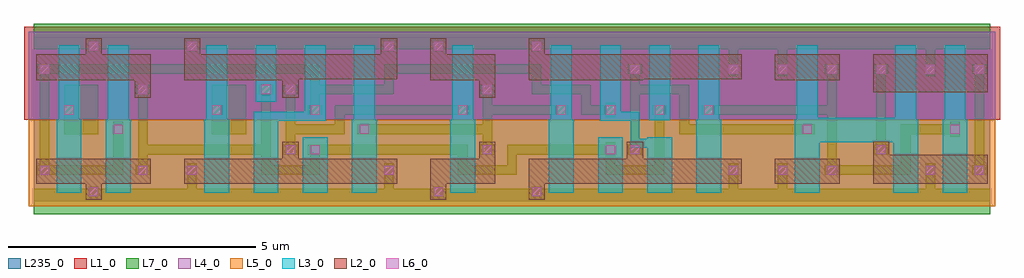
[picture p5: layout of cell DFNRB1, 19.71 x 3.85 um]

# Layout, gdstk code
import gdstk
lib = gdstk.Library(unit=1e-6, precision=1e-09)
def R(c, l, rs):  # rectangles x0, y0, x1, y1
    for r in rs: c.add(gdstk.rectangle(r[:2], r[2:], *l))
def A(c, l, x, y, w, h, nx, ny, dx, dy):  # array of equal rectangles
    R(c, l, [(x+i*dx, y+j*dy, x+i*dx+w, y+j*dy+h) for i in range(nx) for j in range(ny)])
def P(c, l, *ps):  # polygons
    for p in ps: c.add(gdstk.Polygon(p, *l))
L1_0 = (1, 0)
L2_0 = (2, 0)
L3_0 = (3, 0)
L4_0 = (4, 0)
L5_0 = (5, 0)
L6_0 = (6, 0)
L7_0 = (7, 0)
L235_0 = (235, 0)

dfnrb1 = lib.new_cell('DFNRB1')
R(dfnrb1, L1_0, [(-0.2,1.653,19.512,3.532)])
R(dfnrb1, L2_0, [(14.96,0.363,16.28,0.863), (16.948,2.209,19.262,2.969), (14.96,2.449,16.28,2.969)])
P(dfnrb1, L2_0, [(1.044,0.036),(1.044,0.363),(0.05,0.363),(0.05,0.863),(2.364,0.863),(2.364,0.363),(1.37,0.363),(1.37,0.036)],
  [(3.032,0.363),(3.032,0.863),(5.02,0.863),(5.02,1.209),(5.346,1.209),(5.346,0.863),(7.334,0.863),(7.334,0.363)],
  [(8.002,0.036),(8.002,0.863),(8.996,0.863),(8.996,1.209),(9.322,1.209),(9.322,0.363),(8.328,0.363),(8.328,0.036)],
  [(9.99,0.036),(9.99,0.863),(11.978,0.863),(11.978,1.209),(12.304,1.209),(12.304,0.863),(14.292,0.863),(14.292,0.363),(10.316,0.363),(10.316,0.036)],
  [(16.948,0.363),(16.948,1.209),(17.274,1.209),(17.274,0.943),(19.262,0.943),(19.262,0.363)],
  [(2.038,2.097),(2.038,2.449),(0.05,2.449),(0.05,2.969),(1.044,2.969),(1.044,3.296),(1.37,3.296),(1.37,2.969),(2.364,2.969),(2.364,2.097)],
  [(5.02,2.097),(5.02,2.449),(3.032,2.449),(3.032,3.296),(3.358,3.296),(3.358,2.969),(7.008,2.969),(7.008,3.296),(7.334,3.296),(7.334,2.469),(5.346,2.469),(5.346,2.097)],
  [(8.996,2.097),(8.996,2.449),(8.002,2.449),(8.002,3.296),(8.328,3.296),(8.328,2.969),(9.322,2.969),(9.322,2.097)],
  [(9.99,2.449),(9.99,3.296),(10.316,3.296),(10.316,2.969),(14.292,2.969),(14.292,2.469),(12.304,2.469),(12.304,2.449)])
R(dfnrb1, L3_0, [(5.43,0.177,5.93,1.296), (11.394,0.177,11.894,1.296), (12.428,1.637,12.848,3.155), (4.476,2.01,4.896,3.155)])
P(dfnrb1, L3_0, [(0.46,0.177),(0.46,1.653),(0.5,1.653),(0.5,3.155),(0.92,3.155),(0.92,1.653),(0.96,1.653),(0.96,0.177)],
  [(1.454,0.177),(1.454,1.653),(1.494,1.653),(1.494,3.155),(1.914,3.155),(1.914,1.653),(1.954,1.653),(1.954,0.177)],
  [(3.442,0.177),(3.442,1.653),(3.482,1.653),(3.482,3.155),(3.902,3.155),(3.902,1.653),(3.942,1.653),(3.942,0.177)],
  [(4.436,0.177),(4.436,1.809),(5.47,1.809),(5.47,3.155),(5.89,3.155),(5.89,1.629),(4.936,1.629),(4.936,0.177)],
  [(6.424,0.177),(6.424,1.653),(6.464,1.653),(6.464,3.155),(6.884,3.155),(6.884,1.653),(6.924,1.653),(6.924,0.177)],
  [(8.412,0.177),(8.412,1.653),(8.452,1.653),(8.452,3.155),(8.872,3.155),(8.872,1.653),(8.912,1.653),(8.912,0.177)],
  [(10.4,0.177),(10.4,1.653),(10.44,1.653),(10.44,3.155),(10.86,3.155),(10.86,1.653),(10.9,1.653),(10.9,0.177)],
  [(12.388,0.177),(12.388,1.084),(12.051,1.084),(12.051,1.629),(11.434,1.629),(11.434,3.155),(11.854,3.155),(11.854,1.809),(12.231,1.809),(12.231,1.264),(12.388,1.264),(12.388,1.296),(12.888,1.296),(12.888,0.177)],
  [(13.382,0.177),(13.382,1.653),(13.422,1.653),(13.422,3.155),(13.842,3.155),(13.842,1.653),(13.882,1.653),(13.882,0.177)],
  [(15.37,0.177),(15.37,1.653),(15.41,1.653),(15.41,3.155),(15.83,3.155),(15.83,1.696),(17.398,1.696),(17.398,3.155),(17.818,3.155),(17.818,1.653),(17.858,1.653),(17.858,0.177),(17.358,0.177),(17.358,1.196),(15.87,1.196),(15.87,0.177)],
  [(18.352,0.177),(18.352,1.653),(18.392,1.653),(18.392,3.155),(18.812,3.155),(18.812,1.653),(18.852,1.653),(18.852,0.177)])
R(dfnrb1, L4_0, [(-0.1,1.653,19.412,3.432)])
R(dfnrb1, L5_0, [(-0.1,-0.1,19.412,1.653)])
A(dfnrb1, L6_0, 14.036, 0.54, 0.186, 0.186, 3, 1, 0.994, 0)
A(dfnrb1, L6_0, 10.557, 1.754, 0.186, 0.186, 4, 1, 0.994, 0)
A(dfnrb1, L6_0, 14.036, 2.58, 0.186, 0.186, 6, 1, 0.994, 0)
R(dfnrb1, L6_0, [(1.114,0.106,1.3,0.292), (8.072,0.106,8.258,0.292), (10.06,0.106,10.246,0.292), (0.12,0.54,0.306,0.726), (2.108,0.54,2.294,0.726), (3.102,0.54,3.288,0.726), (7.078,0.54,7.264,0.726), (18.012,0.54,18.198,0.726), (19.006,0.54,19.192,0.726), (5.09,0.953,5.276,1.139), (5.587,0.953,5.773,1.139), (9.066,0.953,9.252,1.139), (11.551,0.953,11.737,1.139), (12.048,0.953,12.234,1.139), (17.018,0.953,17.204,1.139), (1.611,1.366,1.797,1.552), (6.581,1.366,6.767,1.552), (15.527,1.366,15.713,1.552), (18.509,1.366,18.695,1.552), (0.617,1.754,0.803,1.94), (3.599,1.754,3.785,1.94), (5.587,1.754,5.773,1.94), (8.569,1.754,8.755,1.94), (2.108,2.167,2.294,2.353), (4.593,2.167,4.779,2.353), (5.09,2.167,5.276,2.353), (9.066,2.167,9.252,2.353), (0.12,2.58,0.306,2.766), (12.048,2.58,12.234,2.766), (1.114,3.04,1.3,3.226), (3.102,3.04,3.288,3.226), (7.078,3.04,7.264,3.226), (8.072,3.04,8.258,3.226), (10.06,3.04,10.246,3.226)])
R(dfnrb1, L7_0, [(0.613,1.362,1.304,2.357), (3.595,1.362,4.286,2.357)])
P(dfnrb1, L7_0, [(0,-0.26),(0,0.26),(1.11,0.26),(1.11,0.296),(1.304,0.296),(1.304,0.26),(3.098,0.26),(3.098,0.776),(3.292,0.776),(3.292,0.26),(7.074,0.26),(7.074,0.776),(7.268,0.776),(7.268,0.26),(8.068,0.26),(8.068,0.296),(8.262,0.296),(8.262,0.26),(10.056,0.26),(10.056,0.296),(10.25,0.296),(10.25,0.26),(14.032,0.26),(14.032,0.776),(14.226,0.776),(14.226,0.26),(15.026,0.26),(15.026,0.776),(15.22,0.776),(15.22,0.26),(18.008,0.26),(18.008,0.776),(18.202,0.776),(18.202,0.26),(19.312,0.26),(19.312,-0.26)],
  [(2.054,0.536),(2.054,0.73),(2.104,0.73),(2.104,2.163),(2.054,2.163),(2.054,2.357),(2.348,2.357),(2.348,2.163),(2.298,2.163),(2.298,1.143),(4.589,1.143),(4.589,2.163),(4.539,2.163),(4.539,2.357),(4.833,2.357),(4.833,2.163),(4.783,2.163),(4.783,0.73),(5.583,0.73),(5.583,0.949),(5.533,0.949),(5.533,1.143),(8.759,1.143),(8.759,0.73),(9.559,0.73),(9.559,1.143),(11.547,1.143),(11.547,1.193),(11.741,1.193),(11.741,0.73),(12.541,0.73),(12.541,1.75),(12.491,1.75),(12.491,1.944),(12.785,1.944),(12.785,1.75),(12.735,1.75),(12.735,0.536),(11.547,0.536),(11.547,0.949),(9.753,0.949),(9.753,0.536),(8.565,0.536),(8.565,0.949),(5.777,0.949),(5.777,0.536),(4.589,0.536),(4.589,0.949),(2.298,0.949),(2.298,0.73),(2.348,0.73),(2.348,0.536)],
  [(5.036,0.949),(5.036,1.143),(5.086,1.143),(5.086,2.163),(5.036,2.163),(5.036,2.357),(5.33,2.357),(5.33,2.163),(5.28,2.163),(5.28,1.556),(6.08,1.556),(6.08,1.944),(8.809,1.944),(8.809,1.75),(6.274,1.75),(6.274,1.362),(5.28,1.362),(5.28,1.143),(5.33,1.143),(5.33,0.949)],
  [(9.012,0.949),(9.012,1.143),(9.062,1.143),(9.062,1.362),(6.527,1.362),(6.527,1.556),(9.062,1.556),(9.062,2.163),(9.012,2.163),(9.012,2.357),(9.306,2.357),(9.306,2.163),(9.256,2.163),(9.256,1.944),(10.797,1.944),(10.797,1.75),(9.256,1.75),(9.256,1.143),(9.306,1.143),(9.306,0.949)],
  [(0.066,0.536),(0.066,0.73),(0.116,0.73),(0.116,2.576),(0.066,2.576),(0.066,2.77),(5.777,2.77),(5.777,2.357),(7.074,2.357),(7.074,2.77),(10.25,2.77),(10.25,2.357),(11.244,2.357),(11.244,1.944),(11.547,1.944),(11.547,1.994),(11.741,1.994),(11.741,1.7),(11.547,1.7),(11.547,1.75),(11.05,1.75),(11.05,2.163),(10.056,2.163),(10.056,2.576),(7.268,2.576),(7.268,2.163),(5.777,2.163),(5.777,1.944),(5.827,1.944),(5.827,1.75),(5.533,1.75),(5.533,1.944),(5.583,1.944),(5.583,2.576),(0.31,2.576),(0.31,0.73),(1.607,0.73),(1.607,1.606),(1.801,1.606),(1.801,0.536)],
  [(11.994,0.949),(11.994,1.143),(12.044,1.143),(12.044,2.576),(11.994,2.576),(11.994,2.77),(12.288,2.77),(12.288,2.576),(12.238,2.576),(12.238,2.357),(13.232,2.357),(13.232,1.556),(15.767,1.556),(15.767,1.362),(13.038,1.362),(13.038,2.163),(12.238,2.163),(12.238,1.143),(12.288,1.143),(12.288,0.949)],
  [(15.97,0.536),(15.97,0.73),(16.02,0.73),(16.02,1.75),(13.485,1.75),(13.485,1.944),(16.02,1.944),(16.02,2.576),(15.97,2.576),(15.97,2.77),(16.264,2.77),(16.264,2.576),(16.214,2.576),(16.214,0.73),(17.511,0.73),(17.511,1.556),(18.505,1.556),(18.505,1.606),(18.699,1.606),(18.699,1.312),(18.505,1.312),(18.505,1.362),(17.705,1.362),(17.705,0.536)],
  [(16.964,0.949),(16.964,1.143),(17.014,1.143),(17.014,2.576),(16.964,2.576),(16.964,2.77),(17.258,2.77),(17.258,2.576),(17.208,2.576),(17.208,1.143),(17.258,1.143),(17.258,0.949)],
  [(18.952,0.536),(18.952,0.73),(19.002,0.73),(19.002,2.576),(18.952,2.576),(18.952,2.77),(19.246,2.77),(19.246,2.576),(19.196,2.576),(19.196,0.73),(19.246,0.73),(19.246,0.536)],
  [(14.032,2.53),(14.032,3.072),(10.25,3.072),(10.25,3.036),(10.056,3.036),(10.056,3.072),(8.262,3.072),(8.262,3.036),(8.068,3.036),(8.068,3.072),(7.268,3.072),(7.268,3.036),(7.074,3.036),(7.074,3.072),(3.292,3.072),(3.292,3.036),(3.098,3.036),(3.098,3.072),(1.304,3.072),(1.304,3.036),(1.11,3.036),(1.11,3.072),(0,3.072),(0,3.592),(19.312,3.592),(19.312,3.072),(18.202,3.072),(18.202,2.53),(18.008,2.53),(18.008,3.072),(15.22,3.072),(15.22,2.53),(15.026,2.53),(15.026,3.072),(14.226,3.072),(14.226,2.53)])
R(dfnrb1, L235_0, [(0,0,19.312,3.332)])

lib.write_gds('DFNRB1.gds')
